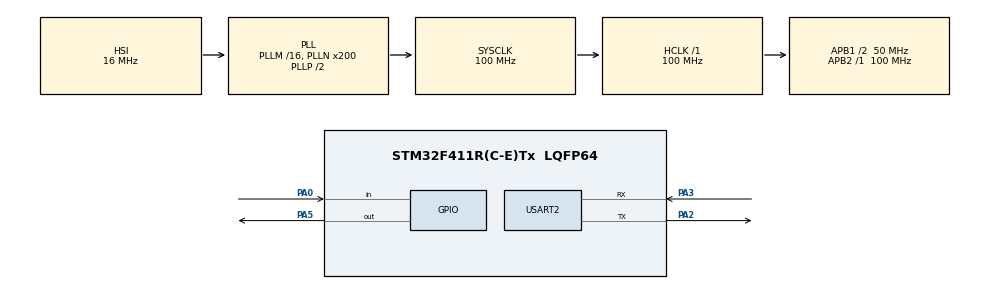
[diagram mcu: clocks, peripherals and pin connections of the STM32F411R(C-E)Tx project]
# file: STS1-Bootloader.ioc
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Mcu.Family=STM32F4
Mcu.Name=STM32F411R(C-E)Tx
Mcu.Package=LQFP64
NVIC.PriorityGroup=NVIC_PRIORITYGROUP_4
PA0-WKUP.Signal=GPIO_Input
PA2.Mode=Asynchronous
PA2.Signal=USART2_TX
PA3.Mode=Asynchronous
PA3.Signal=USART2_RX
PA5.Signal=GPIO_Output
ProjectManager.HeapSize=0x200
ProjectManager.StackSize=0x400
ProjectManager.TargetToolchain=Makefile
RCC.48MHZClocksFreq_Value=50000000
RCC.AHBFreq_Value=100000000
RCC.APB1CLKDivider=RCC_HCLK_DIV2
RCC.APB1Freq_Value=50000000
RCC.APB1TimFreq_Value=100000000
RCC.APB2Freq_Value=100000000
RCC.APB2TimFreq_Value=100000000
RCC.CortexFreq_Value=100000000
RCC.HCLKFreq_Value=100000000
RCC.HSE_VALUE=25000000
RCC.HSI_VALUE=16000000
RCC.LSE_VALUE=32768
RCC.PLLN=200
RCC.SYSCLKFreq_VALUE=100000000
RCC.SYSCLKSource=RCC_SYSCLKSOURCE_PLLCLK
RCC.VCOOutputFreq_Value=200000000
USART2.VirtualMode=VM_ASYNC
VP_TIM3_VS_ClockSourceINT.Mode=Internal
board=custom

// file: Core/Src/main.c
/* USER CODE BEGIN Header */
/**
  ******************************************************************************
  * @file           : main.c
  * @brief          : Main program body
  ******************************************************************************
  * @attention
  *
  * Copyright (c) 2024 STMicroelectronics.
  * All rights reserved.
  *
  * This software is licensed under terms that can be found in the LICENSE file
  * in the root directory of this software component.
  * If no LICENSE file comes with this software, it is provided AS-IS.
  *
  ******************************************************************************
  */
/* USER CODE END Header */
#include "main.h"
#include <stdio.h>

/* USER CODE BEGIN PD */
#define MAJOR 2
#define MINOR 0
/* USER CODE END PD */

/* USER CODE BEGIN PM */
#define SECTOR5_START_ADDRESS 0x8020000ULL
#define SECTOR6_START_ADDRESS 0x8040000ULL
/* USER CODE END PM */

TIM_HandleTypeDef htim3;

UART_HandleTypeDef huart2;

/* USER CODE BEGIN PV */
FLASH_EraseInitTypeDef FlashErase;
/* USER CODE END PV */

void SystemClock_Config(void);
static void MX_GPIO_Init(void);
static void MX_TIM3_Init(void);
static void MX_USART2_UART_Init(void);
/* USER CODE BEGIN PFP */
#ifdef __GNUC__
#define PUTCHAR_PROTOTYPE int __io_putchar(int ch)
#else
#define PUTCHAR_PROTOTYPE int fputc(int ch, FILE *f)
#endif

PUTCHAR_PROTOTYPE
{
  HAL_UART_Transmit(&huart2, (uint8_t *)&ch, 1, HAL_MAX_DELAY);
  return ch;
}
/* USER CODE END PFP */

/* USER CODE BEGIN 0 */
const uint8_t BL_VERSION[2]={MAJOR,MINOR};
static void jump_to_app(void); //jump to main app
static void flash_write_copy(void); //copy data from backup pool to live pool
static void flash_write_dummy(void); //testing
static uint32_t flash_erase_app_sector(void); //standard backup sector is 6
uint32_t CrcSectorSw(uint32_t, uint32_t);
uint32_t ComputeCrc32Sw(uint8_t*, size_t, uint32_t);
uint32_t BackupCrc(void);

volatile const uint32_t crcTable[256]={
     0x00000000, 0x04c11db7, 0x09823b6e, 0x0d4326d9, 0x130476dc, 0x17c56b6b, 0x1a864db2,
     0x1e475005, 0x2608edb8, 0x22c9f00f, 0x2f8ad6d6, 0x2b4bcb61, 0x350c9b64, 0x31cd86d3,
     0x3c8ea00a, 0x384fbdbd, 0x4c11db70, 0x48d0c6c7, 0x4593e01e, 0x4152fda9, 0x5f15adac,
     0x5bd4b01b, 0x569796c2, 0x52568b75, 0x6a1936c8, 0x6ed82b7f, 0x639b0da6, 0x675a1011,
     0x791d4014, 0x7ddc5da3, 0x709f7b7a, 0x745e66cd, 0x9823b6e0, 0x9ce2ab57, 0x91a18d8e,
     0x95609039, 0x8b27c03c, 0x8fe6dd8b, 0x82a5fb52, 0x8664e6e5, 0xbe2b5b58, 0xbaea46ef,
     0xb7a96036, 0xb3687d81, 0xad2f2d84, 0xa9ee3033, 0xa4ad16ea, 0xa06c0b5d, 0xd4326d90,
     0xd0f37027, 0xddb056fe, 0xd9714b49, 0xc7361b4c, 0xc3f706fb, 0xceb42022, 0xca753d95,
     0xf23a8028, 0xf6fb9d9f, 0xfbb8bb46, 0xff79a6f1, 0xe13ef6f4, 0xe5ffeb43, 0xe8bccd9a,
     0xec7dd02d, 0x34867077, 0x30476dc0, 0x3d044b19, 0x39c556ae, 0x278206ab, 0x23431b1c,
     0x2e003dc5, 0x2ac12072, 0x128e9dcf, 0x164f8078, 0x1b0ca6a1, 0x1fcdbb16, 0x018aeb13,
     0x054bf6a4, 0x0808d07d, 0x0cc9cdca, 0x7897ab07, 0x7c56b6b0, 0x71159069, 0x75d48dde,
     0x6b93dddb, 0x6f52c06c, 0x6211e6b5, 0x66d0fb02, 0x5e9f46bf, 0x5a5e5b08, 0x571d7dd1,
     0x53dc6066, 0x4d9b3063, 0x495a2dd4, 0x44190b0d, 0x40d816ba, 0xaca5c697, 0xa864db20,
     0xa527fdf9, 0xa1e6e04e, 0xbfa1b04b, 0xbb60adfc, 0xb6238b25, 0xb2e29692, 0x8aad2b2f,
     0x8e6c3698, 0x832f1041, 0x87ee0df6, 0x99a95df3, 0x9d684044, 0x902b669d, 0x94ea7b2a,
     0xe0b41de7, 0xe4750050, 0xe9362689, 0xedf73b3e, 0xf3b06b3b, 0xf771768c, 0xfa325055,
     0xfef34de2, 0xc6bcf05f, 0xc27dede8, 0xcf3ecb31, 0xcbffd686, 0xd5b88683, 0xd1799b34,
     0xdc3abded, 0xd8fba05a, 0x690ce0ee, 0x6dcdfd59, 0x608edb80, 0x644fc637, 0x7a089632,
     0x7ec98b85, 0x738aad5c, 0x774bb0eb, 0x4f040d56, 0x4bc510e1, 0x46863638, 0x42472b8f,
     0x5c007b8a, 0x58c1663d, 0x558240e4, 0x51435d53, 0x251d3b9e, 0x21dc2629, 0x2c9f00f0,
     0x285e1d47, 0x36194d42, 0x32d850f5, 0x3f9b762c, 0x3b5a6b9b, 0x0315d626, 0x07d4cb91,
     0x0a97ed48, 0x0e56f0ff, 0x1011a0fa, 0x14d0bd4d, 0x19939b94, 0x1d528623, 0xf12f560e,
     0xf5ee4bb9, 0xf8ad6d60, 0xfc6c70d7, 0xe22b20d2, 0xe6ea3d65, 0xeba91bbc, 0xef68060b,
     0xd727bbb6, 0xd3e6a601, 0xdea580d8, 0xda649d6f, 0xc423cd6a, 0xc0e2d0dd, 0xcda1f604,
     0xc960ebb3, 0xbd3e8d7e, 0xb9ff90c9, 0xb4bcb610, 0xb07daba7, 0xae3afba2, 0xaafbe615,
     0xa7b8c0cc, 0xa379dd7b, 0x9b3660c6, 0x9ff77d71, 0x92b45ba8, 0x9675461f, 0x8832161a,
     0x8cf30bad, 0x81b02d74, 0x857130c3, 0x5d8a9099, 0x594b8d2e, 0x5408abf7, 0x50c9b640,
     0x4e8ee645, 0x4a4ffbf2, 0x470cdd2b, 0x43cdc09c, 0x7b827d21, 0x7f436096, 0x7200464f,
     0x76c15bf8, 0x68860bfd, 0x6c47164a, 0x61043093, 0x65c52d24, 0x119b4be9, 0x155a565e,
     0x18197087, 0x1cd86d30, 0x029f3d35, 0x065e2082, 0x0b1d065b, 0x0fdc1bec, 0x3793a651,
     0x3352bbe6, 0x3e119d3f, 0x3ad08088, 0x2497d08d, 0x2056cd3a, 0x2d15ebe3, 0x29d4f654,
     0xc5a92679, 0xc1683bce, 0xcc2b1d17, 0xc8ea00a0, 0xd6ad50a5, 0xd26c4d12, 0xdf2f6bcb,
     0xdbee767c, 0xe3a1cbc1, 0xe760d676, 0xea23f0af, 0xeee2ed18, 0xf0a5bd1d, 0xf464a0aa,
     0xf9278673, 0xfde69bc4, 0x89b8fd09, 0x8d79e0be, 0x803ac667, 0x84fbdbd0, 0x9abc8bd5,
     0x9e7d9662, 0x933eb0bb, 0x97ffad0c, 0xafb010b1, 0xab710d06, 0xa6322bdf, 0xa2f33668,
     0xbcb4666d, 0xb8757bda, 0xb5365d03, 0xb1f740b4};
/* USER CODE END 0 */

int main(void)
{

  /* USER CODE BEGIN 1 */
  volatile const uint32_t initialCrc32Value = 0xFFFFFFFFU;
  //lokkup table for table driven crc32

  /* USER CODE END 1 */

  /* MCU Configuration--------------------------------------------------------*/

  /* Reset of all peripherals, Initializes the Flash interface and the Systick. */
  HAL_Init();

  /* Configure the system clock */
  SystemClock_Config();

  /* Initialize all configured peripherals */
  MX_GPIO_Init();
  MX_TIM3_Init();
  MX_USART2_UART_Init();
  /* USER CODE BEGIN 2 */
  /*
  HAL_GPIO_WritePin(GPIOC,GPIO_PIN_13,GPIO_PIN_SET); //LED ON
  HAL_Delay(2500); //DELAY
  HAL_GPIO_WritePin(GPIOC,GPIO_PIN_13,GPIO_PIN_RESET); //LED ON

  flash_write_dummy(); //write test data to sector 6 for debugging

  HAL_TIM_Base_Start(&htim3);

  flash_erase_app_sector(); //erase the backup sector
  flash_write_copy(); //write a copy from backup sector to app sector

  uint16_t timer_value = __HAL_TIM_GET_COUNTER(&htim3); //get counter value in us

  HAL_GPIO_WritePin(GPIOA,GPIO_PIN_5,GPIO_PIN_SET); //LED ON

  HAL_FLASH_Unlock();
  HAL_FLASH_Program(FLASH_TYPEPROGRAM_HALFWORD,0x8010000,timer_value); //Write Word at address
  HAL_FLASH_Lock();
  HAL_TIM_Base_Stop(&htim3); //stop timer

  //jump_to_app(); //jumpt ot application sector*/

  uint32_t crc = (BackupCrc());

  printf("CRC: %X\n", crc);
  /* USER CODE END 2 */
  //sprintf(tx_buff, "%d",returned_crc);
  /* Infinite loop */
  while (1)
  {

    /* USER CODE BEGIN 3 */
    //if something goes wrong
    HAL_GPIO_WritePin(GPIOA,GPIO_PIN_5,GPIO_PIN_SET); //LED ON
    HAL_Delay(500); //DELAY
    HAL_GPIO_WritePin(GPIOA,GPIO_PIN_5,GPIO_PIN_RESET); //LED OFF
    HAL_Delay(500); //DELAY
  }
  /* USER CODE END 3 */
}

void SystemClock_Config(void)
{
  RCC_OscInitTypeDef RCC_OscInitStruct = {0};
  RCC_ClkInitTypeDef RCC_ClkInitStruct = {0};

  /** Configure the main internal regulator output voltage
  */
  __HAL_RCC_PWR_CLK_ENABLE();
  __HAL_PWR_VOLTAGESCALING_CONFIG(PWR_REGULATOR_VOLTAGE_SCALE1);

  /** Initializes the RCC Oscillators according to the specified parameters
  * in the RCC_OscInitTypeDef structure.
  */
  RCC_OscInitStruct.OscillatorType = RCC_OSCILLATORTYPE_HSI;
  RCC_OscInitStruct.HSIState = RCC_HSI_ON;
  RCC_OscInitStruct.HSICalibrationValue = RCC_HSICALIBRATION_DEFAULT;
  RCC_OscInitStruct.PLL.PLLState = RCC_PLL_ON;
  RCC_OscInitStruct.PLL.PLLSource = RCC_PLLSOURCE_HSI;
  RCC_OscInitStruct.PLL.PLLM = 16;
  RCC_OscInitStruct.PLL.PLLN = 200;
  RCC_OscInitStruct.PLL.PLLP = RCC_PLLP_DIV2;
  RCC_OscInitStruct.PLL.PLLQ = 4;
  if (HAL_RCC_OscConfig(&RCC_OscInitStruct) != HAL_OK)
  {
    Error_Handler();
  }

  /** Initializes the CPU, AHB and APB buses clocks
  */
  RCC_ClkInitStruct.ClockType = RCC_CLOCKTYPE_HCLK|RCC_CLOCKTYPE_SYSCLK
                              |RCC_CLOCKTYPE_PCLK1|RCC_CLOCKTYPE_PCLK2;
  RCC_ClkInitStruct.SYSCLKSource = RCC_SYSCLKSOURCE_PLLCLK;
  RCC_ClkInitStruct.AHBCLKDivider = RCC_SYSCLK_DIV1;
  RCC_ClkInitStruct.APB1CLKDivider = RCC_HCLK_DIV2;
  RCC_ClkInitStruct.APB2CLKDivider = RCC_HCLK_DIV1;

  if (HAL_RCC_ClockConfig(&RCC_ClkInitStruct, FLASH_LATENCY_3) != HAL_OK)
  {
    Error_Handler();
  }
}

static void MX_TIM3_Init(void)
{

  TIM_ClockConfigTypeDef sClockSourceConfig = {0};
  TIM_MasterConfigTypeDef sMasterConfig = {0};

  htim3.Instance = TIM3;
  htim3.Init.Prescaler = 0;
  htim3.Init.CounterMode = TIM_COUNTERMODE_UP;
  htim3.Init.Period = 65535;
  htim3.Init.ClockDivision = TIM_CLOCKDIVISION_DIV1;
  htim3.Init.AutoReloadPreload = TIM_AUTORELOAD_PRELOAD_DISABLE;
  if (HAL_TIM_Base_Init(&htim3) != HAL_OK)
  {
    Error_Handler();
  }
  sClockSourceConfig.ClockSource = TIM_CLOCKSOURCE_INTERNAL;
  if (HAL_TIM_ConfigClockSource(&htim3, &sClockSourceConfig) != HAL_OK)
  {
    Error_Handler();
  }
  sMasterConfig.MasterOutputTrigger = TIM_TRGO_RESET;
  sMasterConfig.MasterSlaveMode = TIM_MASTERSLAVEMODE_DISABLE;
  if (HAL_TIMEx_MasterConfigSynchronization(&htim3, &sMasterConfig) != HAL_OK)
  {
    Error_Handler();
  }

}

static void MX_USART2_UART_Init(void)
{

  huart2.Instance = USART2;
  huart2.Init.BaudRate = 115200;
  huart2.Init.WordLength = UART_WORDLENGTH_8B;
  huart2.Init.StopBits = UART_STOPBITS_1;
  huart2.Init.Parity = UART_PARITY_NONE;
  huart2.Init.Mode = UART_MODE_TX_RX;
  huart2.Init.HwFlowCtl = UART_HWCONTROL_NONE;
  huart2.Init.OverSampling = UART_OVERSAMPLING_16;
  if (HAL_UART_Init(&huart2) != HAL_OK)
  {
    Error_Handler();
  }

}

static void MX_GPIO_Init(void)
{
  GPIO_InitTypeDef GPIO_InitStruct = {0};

  /* GPIO Ports Clock Enable */
  __HAL_RCC_GPIOA_CLK_ENABLE();

  /*Configure GPIO pin Output Level */
  HAL_GPIO_WritePin(GPIOA, GPIO_PIN_5, GPIO_PIN_RESET);

  /*Configure GPIO pin : PA0 */
  GPIO_InitStruct.Pin = GPIO_PIN_0;
  GPIO_InitStruct.Mode = GPIO_MODE_INPUT;
  GPIO_InitStruct.Pull = GPIO_NOPULL;
  HAL_GPIO_Init(GPIOA, &GPIO_InitStruct);

  /*Configure GPIO pin : PA5 */
  GPIO_InitStruct.Pin = GPIO_PIN_5;
  GPIO_InitStruct.Mode = GPIO_MODE_OUTPUT_PP;
  GPIO_InitStruct.Pull = GPIO_NOPULL;
  GPIO_InitStruct.Speed = GPIO_SPEED_FREQ_LOW;
  HAL_GPIO_Init(GPIOA, &GPIO_InitStruct);

}

/* USER CODE BEGIN 4 */
/*
static void flash_write_copy(void)
{
  volatile uint32_t app_flash_memory_address = 0x08020000; //start adress fpr programm sector of flash
  volatile uint32_t backup_flash_memory_address = 0x08040000; //start adress fpr backup programm sector of flash
  uint32_t current_read_word = 0xCAFEBABE; //current read word from backup sector

  HAL_FLASH_Unlock(); //unlock the flash
  for(uint32_t iterator = 0; iterator < 0x8000; iterator++) //4 bytes pro wort werden gelesen 0x4000 = 0x10000 im flash (128K/4=32K=0x8000)
  {
    current_read_word = *((volatile uint32_t*)backup_flash_memory_address);
    HAL_FLASH_Program(FLASH_TYPEPROGRAM_WORD,app_flash_memory_address,current_read_word); //Write Word at address
    app_flash_memory_address += 4;
    backup_flash_memory_address += 4;
  }

  HAL_FLASH_Lock(); //lock the flash

}

static uint32_t flash_erase_app_sector(void){

  uint32_t sector_error = 0;

  FlashErase.Sector = FLASH_SECTOR_5; //specifiy exact sector to earase
  FlashErase.NbSectors = 1; // specifiy number of following+initial sectors to be erased
  FlashErase.TypeErase = FLASH_TYPEERASE_SECTORS; //specify operation type
  FlashErase.VoltageRange = VOLTAGE_RANGE_3; //specify parallelism of erase

  HAL_FLASH_Unlock();
  //status = (uint8_t) HAL_FLASHEx_Erase(&FlashErase, &sector_error);
  HAL_FLASHEx_Erase(&FlashErase, &sector_error);
  HAL_FLASH_Lock(); //lock the flash

  return sector_error;
}

static void flash_write_dummy(void){

  volatile uint32_t FlashMemAddress = 0x08040000;
  uint32_t test_word = 0xDEADBEEF;

  HAL_FLASH_Unlock(); //unlock the flash
  //Start writing from the 1st address
  for(int iterator = 0; iterator < 0x8000; iterator++) //32768 = 128k/4 (4 bytes pro wort)
  {
      HAL_FLASH_Program(FLASH_TYPEPROGRAM_WORD,FlashMemAddress, test_word);
      FlashMemAddress += 4; // word (4 bytes) increment
  }

  HAL_FLASH_Lock(); //lock the flash
}

static void jump_to_app(void){
  typedef void (*void_fn)(void);
  uint32_t* reset_vector_entry = (uint32_t *)(0x8020000U+4U); //get adress of reset handler of main app and store it as pointer
  uint32_t* reset_vector = (uint32_t*)(*reset_vector_entry);  //get content of pouinter (should be antoher pointer)
  void_fn jump_fn = (void_fn)reset_vector;                    //convert pointer to function pointer

  jump_fn(); //call stored function pointer as function
}
*/
uint32_t ComputeCrc32Sw(uint8_t* data, size_t length, uint32_t previousCrc32)
{
  uint32_t crc32 = previousCrc32;  // NOLINT(misc-const-correctness)
  for(int i = 0; i < length; i++)
  {
      int lookupIndex =
          // NOLINTNEXTLINE(magic-numbers)
          ((crc32 >> 24U) ^ data[i]) & 0xFFU;
      crc32 = (crc32 << 8) ^ crcTable[lookupIndex];
  }
  return crc32;
}

uint32_t BackupCrc(void)
{
  uint32_t length = (*(((uint32_t*)SECTOR6_START_ADDRESS)));// read length-word word end change endianness
  uint32_t crc = ComputeCrc32Sw((uint8_t*)SECTOR6_START_ADDRESS,length,0xFFFFFFFF); //A19FA843 43A89FA1

  return(crc);
}
/* USER CODE END 4 */

void Error_Handler(void)
{
  __disable_irq();
  while (1)
  {
  }
}
